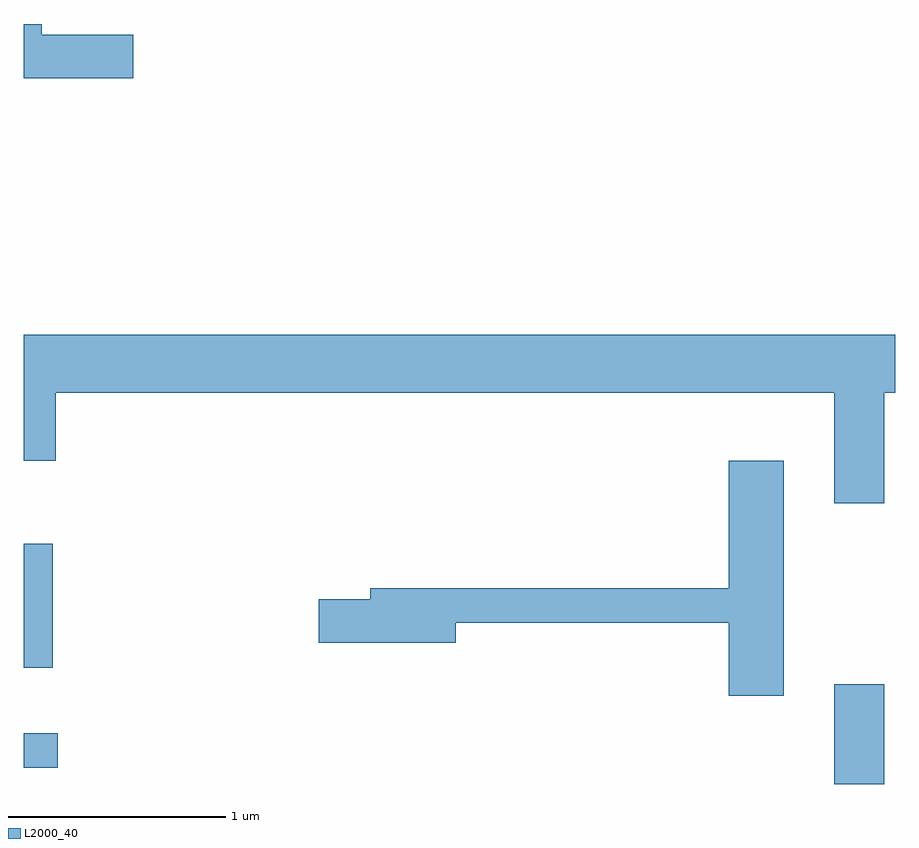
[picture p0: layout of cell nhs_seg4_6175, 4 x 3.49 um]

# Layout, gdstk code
import gdstk
lib = gdstk.Library(unit=1e-6, precision=1e-09)
def R(c, l, rs):  # rectangles x0, y0, x1, y1
    for r in rs: c.add(gdstk.rectangle(r[:2], r[2:], *l))
def P(c, l, *ps):  # polygons
    for p in ps: c.add(gdstk.Polygon(p, *l))
L2000_40 = (2000, 40)

nhs_seg4_6175 = lib.new_cell('nhs_seg4_6175')
R(nhs_seg4_6175, L2000_40, [(369.331,1363.982,369.559,1364.439), (365.611,1364.056,365.768,1364.214), (365.611,1364.516,365.744,1365.084)])
P(nhs_seg4_6175, L2000_40, [(366.114,1367.419),(365.694,1367.419),(365.694,1367.469),(365.611,1367.469),(365.611,1367.221),(366.114,1367.221)],
  [(369.559,1365.776),(369.611,1365.776),(369.611,1366.044),(365.611,1366.044),(365.611,1365.466),(365.759,1365.466),(365.759,1365.776),(369.331,1365.776),(369.331,1365.271),(369.559,1365.271)],
  [(369.099,1365.464),(368.846,1365.464),(368.846,1364.879),(367.201,1364.879),(367.201,1364.829),(366.966,1364.829),(366.966,1364.631),(367.594,1364.631),(367.594,1364.721),(368.846,1364.721),(368.846,1364.386),(369.099,1364.386)])

lib.write_gds('nhs_seg4_6175.gds')
